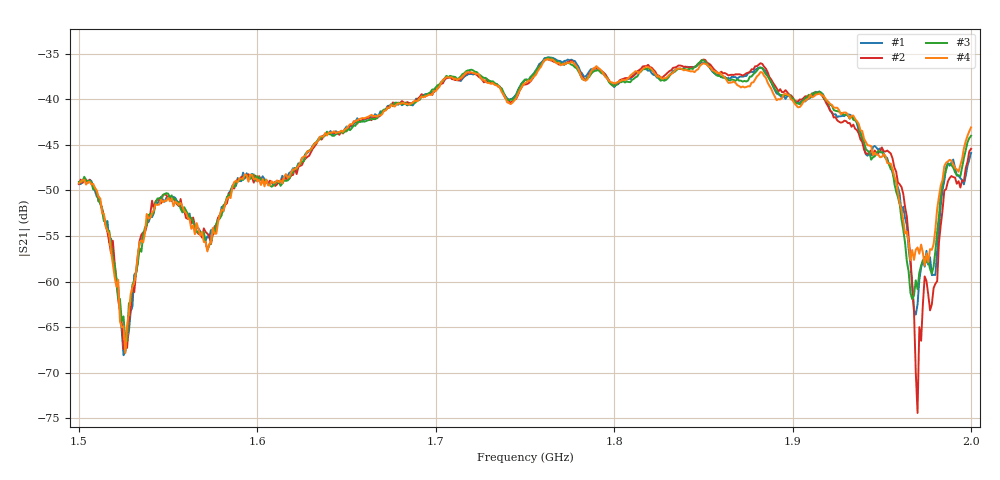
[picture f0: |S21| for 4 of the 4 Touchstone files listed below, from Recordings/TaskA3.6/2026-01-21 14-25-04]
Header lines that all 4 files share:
! NanoVNA-App by SYSJOINT et al v1.1.209 (+OD18)
! Start: 1,5GHz Stop: 2GHz Points: 501
! S-Parameter data: F S11 S21 S12 S22
# Hz S RI R 50
!  Frequency  S11_Real  S11_Imag  S21_Real  S21_Imag  S12_Real  S12_Imag  S22_Real  S22_Imag
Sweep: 1.5 GHz to 2 GHz
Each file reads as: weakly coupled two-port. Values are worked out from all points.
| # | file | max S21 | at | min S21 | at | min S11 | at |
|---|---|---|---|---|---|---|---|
| 1 | 0.s2p | -35.39 dB | 1.763 GHz | -68.1 dB | 1.525 GHz | -29.9 dB | 1.816 GHz |
| 2 | 1.s2p | -35.61 dB | 1.762 GHz | -74.4 dB | 1.97 GHz | -30.3 dB | 1.816 GHz |
| 3 | 2.s2p | -35.45 dB | 1.763 GHz | -66.5 dB | 1.527 GHz | -30.1 dB | 1.816 GHz |
| 4 | 3.s2p | -35.59 dB | 1.763 GHz | -67.8 dB | 1.526 GHz | -30.4 dB | 1.816 GHz |
